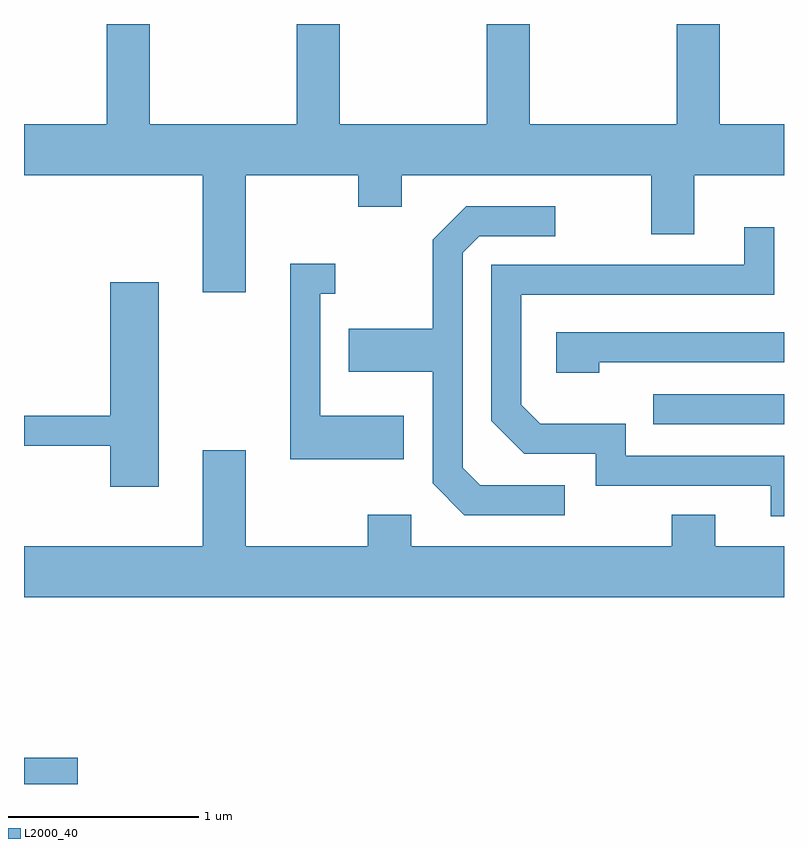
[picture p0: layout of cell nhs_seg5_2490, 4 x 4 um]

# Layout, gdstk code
import gdstk
lib = gdstk.Library(unit=1e-6, precision=1e-09)
def R(c, l, rs):  # rectangles x0, y0, x1, y1
    for r in rs: c.add(gdstk.rectangle(r[:2], r[2:], *l))
def P(c, l, *ps):  # polygons
    for p in ps: c.add(gdstk.Polygon(p, *l))
L2000_40 = (2000, 40)

nhs_seg5_2490 = lib.new_cell('nhs_seg5_2490')
R(nhs_seg5_2490, L2000_40, [(259.611,1418.072,259.894,1418.209), (262.923,1419.966,263.611,1420.124)])
P(nhs_seg5_2490, L2000_40, [(260.779,1421.276),(261.371,1421.276),(261.371,1421.111),(261.599,1421.111),(261.599,1421.276),(262.911,1421.276),(262.911,1420.966),(263.139,1420.966),(263.139,1421.276),(263.611,1421.276),(263.611,1421.544),(263.274,1421.544),(263.274,1422.072),(263.046,1422.072),(263.046,1421.544),(262.274,1421.544),(262.274,1422.072),(262.046,1422.072),(262.046,1421.544),(261.274,1421.544),(261.274,1422.072),(261.046,1422.072),(261.046,1421.544),(260.274,1421.544),(260.274,1422.072),(260.046,1422.072),(260.046,1421.544),(259.611,1421.544),(259.611,1421.276),(260.551,1421.276),(260.551,1420.661),(260.779,1420.661)],
  [(262.458,1419.644),(262.012,1419.644),(261.919,1419.737),(261.919,1420.869),(262.007,1420.956),(262.408,1420.956),(262.408,1421.114),(261.939,1421.114),(261.761,1420.937),(261.761,1420.469),(261.321,1420.469),(261.321,1420.241),(261.761,1420.241),(261.761,1419.654),(261.929,1419.486),(262.458,1419.486)],
  [(263.611,1419.799),(262.779,1419.799),(262.779,1419.969),(262.327,1419.969),(262.229,1420.067),(262.229,1420.646),(263.559,1420.646),(263.559,1421.003),(263.401,1421.003),(263.401,1420.804),(262.071,1420.804),(262.071,1419.984),(262.244,1419.811),(262.621,1419.811),(262.621,1419.641),(263.541,1419.641),(263.541,1419.481),(263.611,1419.481)],
  [(261.609,1420.009),(261.169,1420.009),(261.169,1420.651),(261.248,1420.651),(261.248,1420.809),(261.011,1420.809),(261.011,1419.781),(261.609,1419.781)],
  [(260.319,1420.714),(260.066,1420.714),(260.066,1420.009),(259.611,1420.009),(259.611,1419.851),(260.066,1419.851),(260.066,1419.636),(260.319,1419.636)],
  [(262.639,1420.291),(263.611,1420.291),(263.611,1420.449),(262.411,1420.449),(262.411,1420.236),(262.639,1420.236)],
  [(263.611,1419.324),(263.249,1419.324),(263.249,1419.489),(263.021,1419.489),(263.021,1419.324),(261.649,1419.324),(261.649,1419.489),(261.421,1419.489),(261.421,1419.324),(260.779,1419.324),(260.779,1419.829),(260.551,1419.829),(260.551,1419.324),(259.611,1419.324),(259.611,1419.056),(263.611,1419.056)])

lib.write_gds('nhs_seg5_2490.gds')
